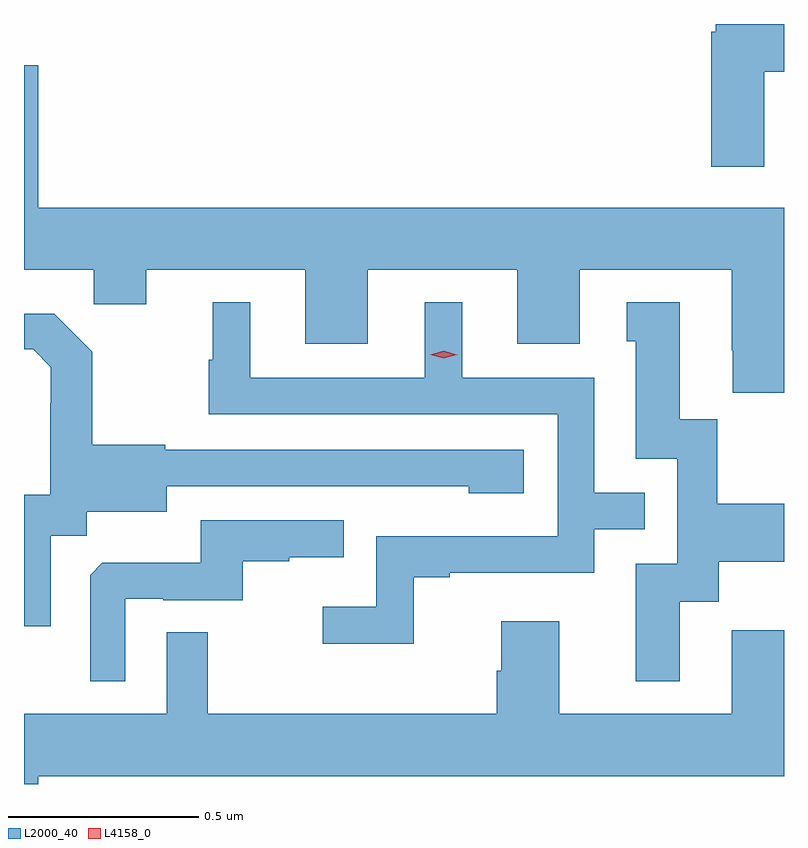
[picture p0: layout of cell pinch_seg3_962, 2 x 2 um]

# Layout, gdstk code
import gdstk
lib = gdstk.Library(unit=1e-6, precision=1e-09)
def P(c, l, *ps):  # polygons
    for p in ps: c.add(gdstk.Polygon(p, *l))
L2000_40 = (2000, 40)
L4158_0 = (4158, 0)

pinch_seg3_962 = lib.new_cell('pinch_seg3_962')
P(pinch_seg3_962, L2000_40, [(574.675,725.414),(574.727,725.414),(574.727,725.539),(574.547,725.539),(574.547,725.518),(574.535,725.518),(574.535,725.163),(574.675,725.163)],
  [(574.727,725.056),(572.764,725.056),(572.764,725.431),(572.727,725.431),(572.727,724.892),(572.911,724.892),(572.911,724.802),(573.049,724.802),(573.049,724.892),(573.467,724.892),(573.467,724.698),(573.631,724.698),(573.631,724.892),(574.025,724.892),(574.025,724.698),(574.189,724.698),(574.189,724.892),(574.589,724.892),(574.589,724.681),(574.592,724.681),(574.592,724.569),(574.727,724.569)],
  [(573.753,724.083),(573.847,724.083),(573.847,724.095),(574.227,724.095),(574.227,724.209),(574.361,724.209),(574.361,724.305),(574.227,724.305),(574.227,724.608),(573.88,724.608),(573.88,724.807),(573.782,724.807),(573.782,724.608),(573.322,724.608),(573.322,724.807),(573.224,724.807),(573.224,724.656),(573.213,724.656),(573.213,724.512),(574.131,724.512),(574.131,724.191),(573.654,724.191),(573.654,724.006),(573.513,724.006),(573.513,723.908),(573.753,723.908)],
  [(574.453,724.018),(574.555,724.018),(574.555,724.124),(574.727,724.124),(574.727,724.276),(574.551,724.276),(574.551,724.499),(574.453,724.499),(574.453,724.807),(574.313,724.807),(574.313,724.704),(574.337,724.704),(574.337,724.395),(574.446,724.395),(574.446,724.119),(574.337,724.119),(574.337,723.81),(574.453,723.81)],
  [(572.797,724.192),(572.892,724.192),(572.892,724.256),(573.103,724.256),(573.103,724.323),(573.661,724.323),(573.661,724.322),(573.897,724.322),(573.897,724.304),(574.042,724.304),(574.042,724.419),(573.099,724.419),(573.099,724.432),(572.907,724.432),(572.907,724.677),(572.807,724.777),(572.727,724.777),(572.727,724.683),(572.751,724.683),(572.798,724.636),(572.798,724.541),(572.796,724.541),(572.796,724.3),(572.727,724.3),(572.727,723.954),(572.797,723.954)],
  [(572.994,724.026),(573.094,724.026),(573.094,724.023),(573.302,724.023),(573.302,724.125),(573.425,724.125),(573.425,724.136),(573.569,724.136),(573.569,724.233),(573.192,724.233),(573.192,724.121),(572.933,724.121),(572.901,724.089),(572.901,723.809),(572.994,723.809)],
  [(572.764,723.56),(574.727,723.56),(574.727,723.943),(574.589,723.943),(574.589,723.724),(574.135,723.724),(574.135,723.967),(573.983,723.967),(573.983,723.837),(573.971,723.837),(573.971,723.724),(573.211,723.724),(573.211,723.938),(573.102,723.938),(573.102,723.724),(572.727,723.724),(572.727,723.539),(572.764,723.539)])
P(pinch_seg3_962, L4158_0, [(573.831,724.659),(573.796,724.669),(573.795,724.669),(573.796,724.669),(573.831,724.679),(573.866,724.669),(573.867,724.669),(573.866,724.669)])

lib.write_gds('pinch_seg3_962.gds')
